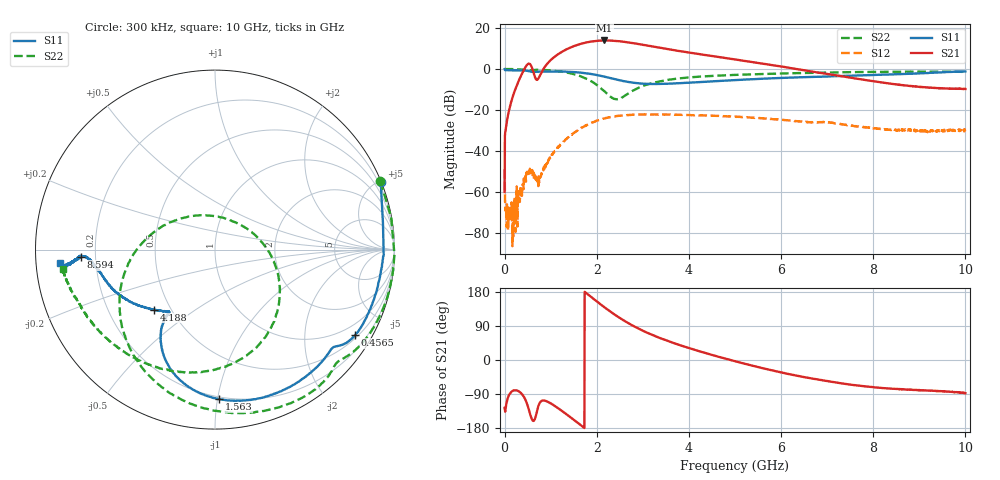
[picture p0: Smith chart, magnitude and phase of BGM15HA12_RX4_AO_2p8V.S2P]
!Agilent Technologies,E5071C,MY46317100,A.11.08
!Date: Fri Dec 12 16:51:30 2014
!Data & Calibration Information:
!Freq	S11:SOLT2(ON)	S21:SOLT2(ON)	S12:SOLT2(ON)	S22:SOLT2(ON)
!PortZ  Port1:50+j0  Port2:50+j0
!Above PortZ is port z conversion or system Z0 setting when saving the data.
!When reading, reference impedance value at option line is always used.
# Hz S RI R 50
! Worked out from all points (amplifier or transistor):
!   1601 points, 300 kHz to 10 GHz, reference 50 ohm
!   highest |S21| = 14.0 dB at 2.163 GHz (marker M1)
!   |S21| within 3 dB of that: 1.475 GHz to 3.225 GHz (1.75 GHz wide, 74.5 % of centre)
!   unconditionally stable (mu >= 1): start of sweep to 16.28 MHz; 24.93 MHz to 37.69 MHz; 38.2 MHz to end of sweep
!   at 1.663 GHz: K = 1.19, MAG = 17.9 dB, |S12| = -28.7 dB
!   at 5 GHz: K = 1.72, MAG = 9.0 dB, |S12| = -23.3 dB
!   at 10 GHz: K = 3.78, MAG = 1.3 dB, |S12| = -29.7 dB
!   lowest NFmin = 1.00 dB at 1.45 GHz
!   S11 on the Smith chart (normalised r, x): 300 kHz: 0.04, +5.09; 456.5 MHz: 0.60, -3.47; 1.563 GHz: 0.19, -1.01; 4.188 GHz: 0.41, -0.35; 8.594 GHz: 0.14, -0.03; 10 GHz: 0.07, -0.04
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300000  0.9232 0.3771  -0.00059 -0.000802  -0.00298 0.00194  0.922 0.3795
5.654831e7  0.9342 -0.0672  -0.0154 -0.057  0.000322 -5.53e-05  0.9947 -0.0811
1.940442e8  0.9043 -0.2137  0.0406 -0.2386  -0.000182 -0.000392  0.9578 -0.272
4.565363e8  0.7807 -0.4758  -0.3139 -1.085  -0.00279 0.000182  0.7575 -0.5796
5.627831e8  0.6827 -0.5372  -1.064 -0.7038  -0.00281 0.00231  0.6723 -0.6385
6.565303e8  0.6413 -0.5634  -0.595 -0.266  -0.00166 0.0013  0.6116 -0.7274
9.565213e8  0.4825 -0.7235  -0.54 -1.373  -0.00617 -0.0006  0.227 -0.9044
1.281512e9  0.2462 -0.8282  -2.057 -1.876  -0.0166 0.00398  -0.2167 -0.8201
1.562753e9  0.0251 -0.833  -3.67 -1.084  -0.0256 0.0166  -0.482 -0.5313
1.669e9  -0.0548 -0.8125  -4.138 -0.4716  -0.0274 0.0244  -0.5268 -0.3889
1.912743e9  -0.2036 -0.7176  -4.545 1.387  -0.0245 0.0439  -0.4741 -0.063
2.162735e9  -0.287 -0.5863  -3.795 3.23  -0.0107 0.0613  -0.2463 0.1532
2.381479e9  -0.3022 -0.4825  -2.474 4.206  0.00744 0.0696  -0.00316 0.1867
2.612722e9  -0.2882 -0.4085  -0.9883 4.475  0.0272 0.0695  0.2016 0.099
2.962711e9  -0.2611 -0.3568  0.7312 3.915  0.0494 0.06  0.3489 -0.1265
3.3377e9  -0.2601 -0.3455  1.707 2.891  0.0638 0.0436  0.3455 -0.3532
4.187674e9  -0.3389 -0.3346  2.137 0.9766  0.0739 0.00975  0.0828 -0.6409
5.00015e9  -0.4418 -0.3035  1.714 -0.0949  0.0666 -0.0158  -0.2457 -0.6749
6.66885e9  -0.624 -0.1505  0.572 -0.6529  0.0377 -0.0325  -0.7267 -0.3492
8.33755e9  -0.7332 -0.0383  0.1146 -0.4298  0.0194 -0.0264  -0.853 -0.0946
8.593792e9  -0.749 -0.0401  0.0913 -0.3991  0.0204 -0.025  -0.8528 -0.08
1e10  -0.8662 -0.0727  0.0148 -0.3248  0.0208 -0.0253  -0.8457 -0.1085
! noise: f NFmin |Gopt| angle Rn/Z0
1.45e+09  0.9961  0.4289  70.47  0.2011
1.5e+09  1.009  0.433  70.88  0.1995
1.7e+09  1.044  0.4114  77.97  0.193
1.85e+09  1.058  0.4084  84.87  0.185
1.9e+09  1.063  0.418  85.3  0.1839
2.1e+09  1.101  0.4328  90.84  0.1736
2.3e+09  1.145  0.4207  96.28  0.171
2.4e+09  1.152  0.4202  98.59  0.1707
2.6e+09  1.176  0.435  103.3  0.1653
2.75e+09  1.218  0.4388  107.6  0.1596
